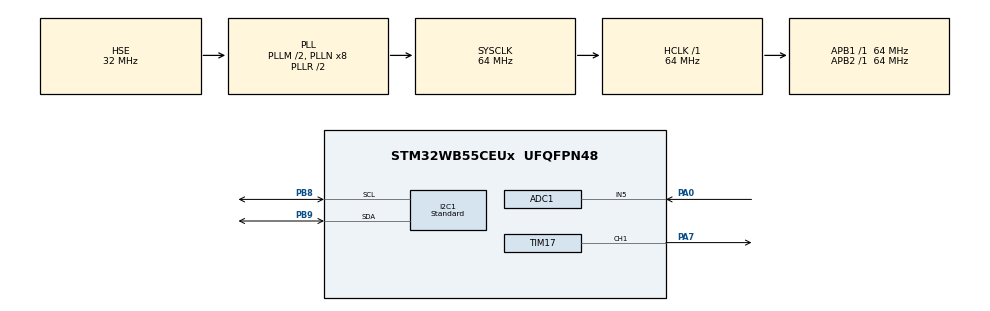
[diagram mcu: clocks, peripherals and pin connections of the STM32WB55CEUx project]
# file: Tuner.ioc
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ADC1.Channel-1\#ChannelRegularConversion=ADC_CHANNEL_5
ADC1.ClockPrescaler=ADC_CLOCK_ASYNC_DIV2
ADC1.ContinuousConvMode=DISABLE
ADC1.DMAContinuousRequests=ENABLE
ADC1.ExternalTrigConv=ADC_EXTERNALTRIG_T2_TRGO
ADC1.NbrOfConversion=1
ADC1.NbrOfConversionFlag=1
ADC1.OffsetNumber-1\#ChannelRegularConversion=ADC_OFFSET_NONE
ADC1.OversamplingMode=DISABLE
ADC1.Rank-1\#ChannelRegularConversion=1
ADC1.SamplingTime-1\#ChannelRegularConversion=ADC_SAMPLETIME_47CYCLES_5
ADC1.master=1
Dma.ADC1.0.Direction=DMA_PERIPH_TO_MEMORY
Dma.ADC1.0.EventEnable=DISABLE
Dma.ADC1.0.Instance=DMA1_Channel1
Dma.ADC1.0.MemDataAlignment=DMA_MDATAALIGN_HALFWORD
Dma.ADC1.0.MemInc=DMA_MINC_ENABLE
Dma.ADC1.0.Mode=DMA_CIRCULAR
Dma.ADC1.0.PeriphDataAlignment=DMA_PDATAALIGN_HALFWORD
Dma.ADC1.0.PeriphInc=DMA_PINC_DISABLE
Dma.ADC1.0.Polarity=HAL_DMAMUX_REQ_GEN_RISING
Dma.ADC1.0.Priority=DMA_PRIORITY_LOW
Dma.ADC1.0.RequestNumber=1
Dma.ADC1.0.SignalID=NONE
Dma.ADC1.0.SyncEnable=DISABLE
Dma.ADC1.0.SyncPolarity=HAL_DMAMUX_SYNC_NO_EVENT
Dma.ADC1.0.SyncRequestNumber=1
Dma.ADC1.0.SyncSignalID=NONE
Dma.Request0=ADC1
I2C1.I2C_Speed_Mode=I2C_Standard
I2C1.Timing=0x10B17DB5
Mcu.Family=STM32WB
Mcu.Name=STM32WB55CEUx
Mcu.Package=UFQFPN48
NVIC.DMA1_Channel1_IRQn=true\:0\:0\:false\:false\:true\:false\:true\:true
NVIC.HSEM_IRQn=true\:0\:0\:false\:false\:true\:false\:true\:true
NVIC.IPCC_C1_RX_IRQn=true\:0\:0\:false\:false\:true\:true\:true\:true
NVIC.IPCC_C1_TX_IRQn=true\:0\:0\:false\:false\:true\:true\:true\:true
NVIC.PriorityGroup=NVIC_PRIORITYGROUP_4
NVIC.RTC_WKUP_IRQn=true\:0\:0\:false\:false\:true\:true\:true\:true
NVIC.TIM1_UP_TIM16_IRQn=true\:15\:0\:false\:false\:true\:false\:true\:true
NVIC.TimeBase=TIM1_UP_TIM16_IRQn
NVIC.TimeBaseIP=TIM1
OSC_IN.Mode=HSE-External-Oscillator
OSC_IN.Signal=RCC_OSC_IN
OSC_OUT.Mode=HSE-External-Oscillator
OSC_OUT.Signal=RCC_OSC_OUT
PA0.Signal=ADCx_IN5
PA13.Mode=Serial_Wire
PA13.Signal=SYS_JTMS-SWDIO
PA14.Mode=Serial_Wire
PA14.Signal=SYS_JTCK-SWCLK
PA7.Signal=S_TIM17_CH1
PB8.Mode=I2C
PB8.Signal=I2C1_SCL
PB9.Mode=I2C
PB9.Signal=I2C1_SDA
PC14-OSC32_IN.Mode=LSE-External-Oscillator
PC14-OSC32_IN.Signal=RCC_OSC32_IN
PC15-OSC32_OUT.Mode=LSE-External-Oscillator
PC15-OSC32_OUT.Signal=RCC_OSC32_OUT
ProjectManager.HeapSize=0x200
ProjectManager.StackSize=0x400
ProjectManager.TargetToolchain=STM32CubeIDE
RCC.ADCFreq_Value=64000000
RCC.AHB2CLKDivider=RCC_SYSCLK_DIV2
RCC.AHBFreq_Value=64000000
RCC.APB1Freq_Value=64000000
RCC.APB1TimFreq_Value=64000000
RCC.APB2Freq_Value=64000000
RCC.APB2TimFreq_Value=64000000
RCC.APB3Freq_Value=16000000
RCC.CortexFreq_Value=64000000
RCC.HCLKFreq_Value=64000000
RCC.HSE_VALUE=32000000
RCC.HSI48_VALUE=48000000
RCC.HSI_VALUE=16000000
RCC.MSIClockRange=RCC_MSIRANGE_10
RCC.PLLM=RCC_PLLM_DIV2
RCC.PLLSourceVirtual=RCC_PLLSOURCE_HSE
RCC.SYSCLKFreq_VALUE=64000000
RCC.SYSCLKSource=RCC_SYSCLKSOURCE_PLLCLK
RCC.USBFreq_Value=64000000
RCC.VCOOutputFreq_Value=128000000
RCC.VDD_VALUE=3
RF1.Mode=RF1_Activate
RF1.Signal=RF_RF1
SH.ADCx_IN5.0=ADC1_IN5,IN5-Single-Ended
SH.S_TIM17_CH1.0=TIM17_CH1,PWM Generation1 CH1
STM32_WPAN.AD_TYPE_COMPLETE_LOCAL_NAME=STM32 Derintuvas
STM32_WPAN.AD_TYPE_COMPLETE_LOCAL_NAME_LENGTH=17
STM32_WPAN.BT_SIG_HEART_RATE_SENSOR=Disabled
STM32_WPAN.CFG_LSCLK_LSE=0
STM32_WPAN.CUSTOM_P2P_SERVER=Disabled
STM32_WPAN.CUSTOM_TEMPLATE=Enabled
STM32_WPAN.INCLUDE_AD_TYPE_COMPLETE_LOCAL_NAME=1
STM32_WPAN.NUMBER_OF_SERVICES=1
STM32_WPAN.SERVICE1_CHAR1_ATTR_PERMISSION_ENCRY_READ=\ 
STM32_WPAN.SERVICE1_CHAR1_GATT_NOTIFY_ATTRIBUTE_WRITE=GATT_NOTIFY_ATTRIBUTE_WRITE
STM32_WPAN.SERVICE1_CHAR1_GATT_NOTIFY_READ_REQ_AND_WAIT_FOR_APPL_RESP=\ 
STM32_WPAN.SERVICE1_CHAR1_GATT_NOTIFY_WRITE_REQ_AND_WAIT_FOR_APPL_RESP=\ 
STM32_WPAN.SERVICE1_CHAR1_LONG_NAME=charCast
STM32_WPAN.SERVICE1_CHAR1_PROP_NOTIFY=CHAR_PROP_NOTIFY
STM32_WPAN.SERVICE1_CHAR1_PROP_READ=CHAR_PROP_READ
STM32_WPAN.SERVICE1_CHAR1_SHORT_NAME=charCast
STM32_WPAN.SERVICE1_CHAR1_VALUE_LENGTH=8
STM32_WPAN.SERVICE1_LONG_NAME=TunerService
STM32_WPAN.SERVICE1_SHORT_NAME=TunerService
TIM17.Channel=TIM_CHANNEL_1
TIM17.Period=1000
TIM17.Prescaler=63
TIM17.Pulse=0
TIM2.Period=99
TIM2.Prescaler=79
TIM2.TIM_MasterOutputTrigger=TIM_TRGO_UPDATE
VP_HSEM_VS_HSEM.Mode=HSEM_Activate
VP_IPCC_VS_IPCC.Mode=IPCC_Activate
VP_MEMORYMAP_VS_MEMORYMAP.Mode=CurAppReg
VP_RTC_VS_RTC_Activate.Mode=RTC_Enabled
VP_RTC_VS_RTC_WakeUp_intern.Mode=WakeUp
VP_SEQUENCER_VS_SEQUENCER.Mode=SEQUENCER_Enabled
VP_STM32_WPAN_VS_BLE_HOST.Mode=STM32_WPAN_Enabled
VP_SYS_VS_tim1.Mode=TIM1
VP_TIM17_VS_ClockSourceINT.Mode=Enable_Timer
VP_TIM2_VS_ClockSourceINT.Mode=Internal
VP_TINY_LPM_VS_TINY_LPM.Mode=TINY_LPM_Enabled
board=custom

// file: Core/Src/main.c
/* USER CODE BEGIN Header */
/* gitaros derintuvas */
/* USER CODE END Header */
#include "main.h"

/* USER CODE BEGIN Includes */
#include "ssd1306.h"
#include "ssd1306_fonts.h"
#include <stdio.h>
#include <math.h>
#include "arm_math.h"

#include "ble_types.h"
#include "app_ble.h"
#include "custom_stm.h"
#include <stdbool.h>
#include "slider.h"
/* USER CODE END Includes */

/* USER CODE BEGIN PD */
#define ADC_BUF_LEN 2048  // buferio dydis
#define MIN_FREQ_HZ 70		// dažnių ribos
#define MAX_FREQ_HZ 2000
#define ADC_VREF 3.3f		// galima palikti standartinį 3,3V
#define ADC_RESOLUTION 4096.0f	// 2¹², 12 bitų ADC geba
#define STABILITY_THRESHOLD 3.0f  /* (Hz)
								 * ------------------------------------------------------------------------
								 *  Maksimalus leistinas standartinis nuokrypis tarp paskutinių
								 *  AVG_FRAMES matavimų. Jeigu nuokrypis neviršija slenksčio STABILITY_THRESHOLD,
								 *  laikome, kad styga stabilizavosi ir dažnis yra patikimas.
								 *
								 *  Rekomenduojamos ribos:
								 *    1–2 Hz  – labai griežta, gali vėluoti natos rodymas
								 *    3 Hz    – gera pusiausvyra
								 *    4–6 Hz  – greitesnė reakcija, bet galima daugiau nepatikimumo
								 *-------------------------------------------------------------------------*/
#define AVG_FRAMES 1			/*  Kiek paskutinių dažnio matavimų (FFT langų) laikyti žiediniame buferyje
								 *  ir naudoti stabilumo analizei:
								 *
								 *    1  – jokio vidurkinimo („real-time“ reakcija, bet gali „šokinėti“)
								 *   >1  – įjungiamas „debounce“:
								 *           skaičiuojamas vidurkis per N kadrų
								 *           jei standartinis nuokrypis σ < STABILITY_THRESHOLD, nata laikoma STABILI ir rodoma.
								 *
								 *  Rekomenduojamos ribos:
								 *    1    labai greitas atsakas, minimalus vėlinimas
								 *    2–3  švelnus išlyginimas
								 *    4+   itin stabilu, bet padidėja vėlinimas į ekraną / BLE
								 *-------------------------------------------------------------------------*/

float freq_buffer[AVG_FRAMES] = {0};   // žiedinis buferis dažniui prilyginti
uint8_t freq_index = 0;			// rodyklė į kitą buferio langelį
uint32_t min_bin, max_bin;		// FFT bin’ų intervalas, skaičiuojamas start’e

#define LED_ON_DUTY  400     /* 40 % */
#define LED_OFF_DUTY   0	// išjungtas

volatile uint8_t new_data_ready = 0;	// DMA callback’e užkeliama į 1, kai buferis pilnas

uint16_t adc_buf[ADC_BUF_LEN];		// "žali" ADC mėginiai
float32_t fft_input[ADC_BUF_LEN];	//tie patys, bet jau −DC ir su langu
float32_t fft_output[ADC_BUF_LEN];	// sudėtas FFT rezultatas
float32_t magnitudes[ADC_BUF_LEN / 2];	// |FFT| amplitudės (tik reikalinga pusė)
char buffer[32];					// laikinas tekstas OLED/BLE
float sample_rate;					// nustatoma vėliau pagal laikmatį 8000

static float ref_note_freq = 0.0f;   /* artimiausios natos Hz vertė*/
/* USER CODE END PD */

ADC_HandleTypeDef hadc1;
DMA_HandleTypeDef hdma_adc1;

I2C_HandleTypeDef hi2c1;

IPCC_HandleTypeDef hipcc;

RTC_HandleTypeDef hrtc;

TIM_HandleTypeDef htim2;
TIM_HandleTypeDef htim17;

void SystemClock_Config(void);
void PeriphCommonClock_Config(void);
static void MX_GPIO_Init(void);
static void MX_DMA_Init(void);
static void MX_I2C1_Init(void);
static void MX_ADC1_Init(void);
static void MX_IPCC_Init(void);
static void MX_RTC_Init(void);
static void MX_TIM2_Init(void);
static void MX_TIM17_Init(void);
static void MX_RF_Init(void);
/* USER CODE BEGIN PFP */
void HAL_ADC_ConvCpltCallback(ADC_HandleTypeDef* hadc) {		//  kalibruojam ADC prieš matavimus
    new_data_ready = 1;
}

static void Display_Debug_Info(const char* note, float freq) {
    ssd1306_Fill(Black);

    //dažnio informacija
    snprintf(buffer, sizeof(buffer), "%s ", note);
    ssd1306_SetCursor(0, 0);
    ssd1306_WriteString(buffer, Font_16x26, White);

	snprintf(buffer, sizeof(buffer), "%3.0fHz", freq);
	ssd1306_SetCursor(70, 0);
	ssd1306_WriteString(buffer, Font_11x18, White);

//    ssd1306_UpdateScreen();
}

typedef struct {
    const char* name;
    float freq;
} Note;

Note notes[] = {
    // 2 oktava
    {"C2", 65.41}, {"C#2", 69.30}, {"D2", 73.42}, {"D#2", 77.78},
    {"E2", 82.41}, {"F2", 87.31}, {"F#2", 92.50}, {"G2", 98.00},
    {"G#2", 103.83}, {"A2", 110.00}, {"A#2", 116.54}, {"B2", 123.47},

    // 3 oktava
    {"C3", 130.81}, {"C#3", 138.59}, {"D3", 146.83}, {"D#3", 155.56},
    {"E3", 164.81}, {"F3", 174.61}, {"F#3", 185.00}, {"G3", 196.00},
    {"G#3", 207.65}, {"A3", 220.00}, {"A#3", 233.08}, {"B3", 246.94},

    // 4 oktava
    {"C4", 261.63}, {"C#4", 277.18}, {"D4", 293.66}, {"D#4", 311.13},
    {"E4", 329.63}, {"F4", 349.23}, {"F#4", 369.99}, {"G4", 392.00},
    {"G#4", 415.30}, {"A4", 440.00}, {"A#4", 466.16}, {"B4", 493.88},

    // 5 oktava
    {"C5", 523.25}, {"C#5", 554.37}, {"D5", 587.33}, {"D#5", 622.25},
    {"E5", 659.26}, {"F5", 698.46}, {"F#5", 739.99}, {"G5", 783.99},
    {"G#5", 830.61}, {"A5", 880.00}, {"A#5", 932.33}, {"B5", 987.77},

    // 6 oktava
    {"C6", 1046.50}, {"C#6", 1108.73}, {"D6", 1174.66}, {"D#6", 1244.51},
    {"E6", 1318.51}, {"F6", 1396.91}, {"F#6", 1479.98}, {"G6", 1567.98},
    {"G#6", 1661.22}, {"A6", 1760.00}, {"A#6", 1864.66}, {"B6", 1975.53},

    {"C7", 2093.00}, {"C#7", 2217.46}, {"D7", 2349.32}
};

static const char* IdentifyNote(float freq) {
    float minDiff = 1e9f;			/* pradinis „begalinis“ skirtumas */
    const char* closestNote = "-";	/* kol kas nežinome artimiausios natos */
    ref_note_freq = 0.0f;          /* iš naujo nustatyti kiekvieną kartą iškviečiant */

    // rasti artimiausia natą
    for (int i = 0; i < sizeof(notes)/sizeof(notes[0]); i++) {
        float diff = fabsf(freq - notes[i].freq);		/* absoliutus skirtumas */
        if (diff < minDiff) {
            minDiff = diff;						/* atnaujiname minimumą */
            closestNote = notes[i].name;		/* įsimename pavadinimą */
            ref_note_freq = notes[i].freq;    /* įsimename tikslų Hz  */
        }
    }

    // Atmesti, jei skirtumas, paklaida per didelė (>3 % natų dažnio)
    if (minDiff > 0.03f * freq) {
        return "-";
    }

    return closestNote;
}
/* USER CODE END PFP */

int main(void)
{

  /* MCU Configuration--------------------------------------------------------*/

  /* Reset of all peripherals, Initializes the Flash interface and the Systick. */
  HAL_Init();
  /* Config code for STM32_WPAN (HSE Tuning must be done before system clock configuration) */
  MX_APPE_Config();

  /* Configure the system clock */
  SystemClock_Config();

  /* Configure the peripherals common clocks */
  PeriphCommonClock_Config();

  /* IPCC initialisation */
  MX_IPCC_Init();

  /* Initialize all configured peripherals */
  MX_GPIO_Init();
  MX_DMA_Init();
  MX_I2C1_Init();
  MX_ADC1_Init();
  MX_RTC_Init();
  MX_TIM2_Init();
  MX_TIM17_Init();
  MX_RF_Init();
  /* USER CODE BEGIN 2 */
  HAL_TIM_PWM_Start(&htim17, TIM_CHANNEL_1);     /* PA7 LED */

  HAL_ADCEx_Calibration_Start(&hadc1, ADC_SINGLE_ENDED);
  sample_rate = 8000.0f;	// 8 kHz – Nyquist 4 kHz > MAX_FREQ, paprasta laikmačiui
  min_bin = (MIN_FREQ_HZ * ADC_BUF_LEN) / (uint32_t)sample_rate;	// formulė f -> bin  (N*f/Fs)
  max_bin = (MAX_FREQ_HZ * ADC_BUF_LEN) / (uint32_t)sample_rate;	// tas pats viršutinei ribai
  if (HAL_ADC_Start_DMA(&hadc1, (uint32_t*)adc_buf, ADC_BUF_LEN) != HAL_OK)	// paleidžiam ADC+DMA, kitaip stabdom dar stratuotėje
  Error_Handler();

  HAL_TIM_Base_Start(&htim2);                 // laikmatis paleidžiamas paskutinis

  ssd1306_Init();
  HAL_Delay(100);
  ssd1306_Fill(Black);
  ssd1306_SetCursor(0, 0);
  ssd1306_WriteString("Gitaros", Font_16x15, White);
  ssd1306_SetCursor(0, 15);
  ssd1306_WriteString("derintuvas", Font_16x15, White);
  ssd1306_UpdateScreen();

  arm_rfft_fast_instance_f32 fft;
  arm_rfft_fast_init_f32(&fft, ADC_BUF_LEN);
  /* USER CODE END 2 */

  /* Init code for STM32_WPAN */
  MX_APPE_Init();

  /* Infinite loop */
  /* USER CODE BEGIN WHILE */
  HAL_Delay(3000);
  float mean_adc, freq, min_adc, max_adc;
  float avg_freq = 0.0f;
  uint32_t maxBin;
  uint32_t last_update = 0;
  const char* note;
  while (1)
  {
    /* USER CODE END WHILE */
    MX_APPE_Process();

    /* USER CODE BEGIN 3 */
    if (new_data_ready) { //DMA užpildė ADC buferį – laikas apdoroti
			// ADC duomenų apskaičiavimas
			mean_adc = 0.0f;	// vidurkis
			min_adc = 4096.0f;  // mažinsime
			max_adc = 0.0f;		// didinsime
			for (int i = 0; i < ADC_BUF_LEN; i++) {
				mean_adc += adc_buf[i];		// sumuojame visus
				if (adc_buf[i] < min_adc) min_adc = adc_buf[i]; //ieškome mažiausio
				if (adc_buf[i] > max_adc) max_adc = adc_buf[i]; //ieškome didžiausio
			}
			mean_adc /= ADC_BUF_LEN;	// vidutinis ADC

			// DC pašalinimas + Blackman-Harris langas
			for (int i = 0; i < ADC_BUF_LEN; i++) {
				float window = 0.35875f -
							   0.48829f * cosf(2 * M_PI * i / (ADC_BUF_LEN - 1)) +
							   0.14128f * cosf(4 * M_PI * i / (ADC_BUF_LEN - 1)) -
							   0.01168f * cosf(6 * M_PI * i / (ADC_BUF_LEN - 1));
				fft_input[i] = ((float)adc_buf[i] - mean_adc) * window;
			}

			// FFT transformacija ir amplitudžių apskaičiavimas
			arm_rfft_fast_f32(&fft, fft_input, fft_output, 0);
			arm_cmplx_mag_f32(fft_output, magnitudes, ADC_BUF_LEN / 2);

			// Scale magnitudes
			float norm = 2.0f / (float)ADC_BUF_LEN;
			arm_scale_f32(magnitudes, norm, magnitudes, ADC_BUF_LEN / 2);

			// Triukšmo žemutinė riba
			float noise_floor = 0.0f;
			for (uint32_t i = 0; i < ADC_BUF_LEN / 2; i++) {
				noise_floor += magnitudes[i];
			}
			noise_floor /= (ADC_BUF_LEN / 2);

			// Nustatomas slenkstis
			float threshold = 20.0f * noise_floor;

			// Rasti pirmą imtį virš slenksčio
			uint32_t i = min_bin;
			while (i <= max_bin && magnitudes[i] <= threshold) {
				i++;
			}

			if (i > max_bin || (max_adc - min_adc) <= 5) {	// jei nieko nėra arba signalas per silpnas,
				freq = 0.0f;								// laikome, kad nėra garso
				note = "-";
			} else {
				// Rasti vietinį maksimumą aplink i
				uint32_t start = (i > 2) ? i - 2 : min_bin;
				uint32_t end = (i + 2 < ADC_BUF_LEN / 2) ? i + 2 : max_bin;
				uint32_t local_max_bin = start;
				float local_max_mag = magnitudes[start];

				for (uint32_t j = start + 1; j <= end; j++) {
					if (magnitudes[j] > local_max_mag) {
						local_max_mag = magnitudes[j];
						local_max_bin = j;
					}
				}
				maxBin = local_max_bin;

				// Kvadratinė interpoliacija dažnio tikslinimui
				if (maxBin > 0 && maxBin < ADC_BUF_LEN / 2 - 1) {
					float y1 = magnitudes[maxBin - 1];
					float y2 = magnitudes[maxBin];
					float y3 = magnitudes[maxBin + 1];
					float delta = 0.5f * (y3 - y1) / (2.0f * y2 - y1 - y3);
					float fractionalBin = maxBin + delta;
					freq = fractionalBin * sample_rate / ADC_BUF_LEN;
				} else {
					freq = maxBin * sample_rate / ADC_BUF_LEN;
				}

				note = IdentifyNote(freq);
			}

			// Laikyti dažnį buferyje ir patikrinti stabilumą
			if (freq > 0) {                       /* Tik jeigu aptiktas dažnis yra > 0 Hz  */
			    /* Įdedame naujausią matavimą į žiedinį buferį */
			    freq_buffer[freq_index] = freq;   /* įrašome dažnį į einamą poziciją       */
			    freq_index = (freq_index + 1) % AVG_FRAMES;     /* žiedo rodyklė pirmyn   */

			    /* Suskaičiuojame vidurkį ir standartinį nuokrypį buferyje */
			    float sum = 0.0f;
			    int   valid_count = 0;
			    for (int k = 0; k < AVG_FRAMES; k++) {
			        if (freq_buffer[k] > 0) {     /* ignoruojame tuščias (0 Hz) vietas     */
			            sum += freq_buffer[k];
			            valid_count++;
			        }
			    }

			    if (valid_count == AVG_FRAMES) {  /* buferis pilnas, galima vertinti      */
			        float mean_freq = sum / AVG_FRAMES;

			        /* standartinio nuokrypio formulė */
			        float sum_sq_diff = 0.0f;
			        for (int k = 0; k < AVG_FRAMES; k++) {
			            float diff = freq_buffer[k] - mean_freq;
			            sum_sq_diff += diff * diff;
			        }
			        float std_dev = sqrtf(sum_sq_diff / AVG_FRAMES);

			        /* 3) Patikriname, ar dažnis pakankamai stabilus */
			        if (std_dev < STABILITY_THRESHOLD) {
			            avg_freq = mean_freq;             /* išlyginame („debounce“)       */
			            note     = IdentifyNote(avg_freq);/* nustatome artimiausią natą    */
			        } else {
			            note     = "-";                   /* per dideli svyravimai         */
			            avg_freq = 0.0f;
			        }
			    } else {                          /* buferis dar neužsipildė: laukiame     */
			        note     = "-";
			        avg_freq = 0.0f;
			    }

			} else {                              /* signalas nerastas         */
			    note     = "-";
			    avg_freq = 0.0f;
			}

			// BLE atnaujinimas
			if (APP_BLE_Get_Server_Connection_Status() == APP_BLE_CONNECTED_SERVER) {
				char msg[8] = {0};
				if (avg_freq > 0) {
					snprintf(msg, sizeof(msg), "%5.1f", avg_freq);
				} else {
					snprintf(msg, sizeof(msg), "     ");
				}
				for (size_t i = strlen(msg); i < sizeof(msg); ++i) msg[i] = ' ';
				Custom_STM_App_Update_Char(CUSTOM_STM_CHARCAST, (uint8_t*)msg);
			}

			// Ekrano atnaujinimas
			Display_Debug_Info(note, avg_freq);
			float cents = 0.0f;
			if (avg_freq > 0.5f && ref_note_freq > 0.0f) {
				#ifndef log2f
				#define log2f(x) (logf(x) * 1.442695041f)
				#endif
				cents = 1200.0f * log2f(avg_freq / ref_note_freq);	// 1200 centų = 1 oktava
			}
			draw_slider(cents);
			ssd1306_UpdateScreen();

			new_data_ready = 0;		// baigėm apdoroti
			last_update = HAL_GetTick();
		}

    static uint32_t             led_last    = 0;     /* paskutine busena   */
    static uint8_t              led_on      = 0;     /* 0 = OFF, 1 = ON      */
    static uint8_t              pulse_count = 0;	// kiek impulsų jau parodyta dabartinėje sekoje
    const uint32_t now = HAL_GetTick();

    const uint32_t ON_MS     = 100;   /* ijungto LED laikas ms                       */
    const uint32_t GAP_IDLE  = 4000;  /* tarpas po vieno mirktelejimo (idle)     */
    const uint32_t GAP_TRAIN = 100;   /* tarpas tarp trigubų impulsų       */

    APP_BLE_ConnStatus_t conn = APP_BLE_Get_Server_Connection_Status();
    bool connected = (conn == APP_BLE_CONNECTED_SERVER ||
                      conn == APP_BLE_CONNECTED_CLIENT);

    /* -------- būsenos mašina ------------------------------------------- */
    if (led_on) {                                          /* LEDas ON  */
        if (now - led_last >= ON_MS) {
        	__HAL_TIM_SET_COMPARE(&htim17, TIM_CHANNEL_1, LED_OFF_DUTY);
            led_on   = 0;
            led_last = now;
            pulse_count++;                                 /* vienas pulsas atliktas    */
        }
    } else {                                               /* LEDas OFF */
        uint32_t gap = connected
                       ? (pulse_count < 3 ? GAP_TRAIN : GAP_IDLE)
                       : GAP_IDLE;
        if (now - led_last >= gap) {
        	__HAL_TIM_SET_COMPARE(&htim17, TIM_CHANNEL_1, LED_ON_DUTY);
            led_on   = 1;
            led_last = now;
            if (!connected || pulse_count >= 3)            /* restartuoti seka */
                pulse_count = 0;
        }
    }

	if (HAL_GetTick() - last_update >= 50) {
		last_update = HAL_GetTick();
	}
  }
  /* USER CODE END 3 */
}

void SystemClock_Config(void)
{
  RCC_OscInitTypeDef RCC_OscInitStruct = {0};
  RCC_ClkInitTypeDef RCC_ClkInitStruct = {0};

  /** Configure the main internal regulator output voltage
  */
  __HAL_PWR_VOLTAGESCALING_CONFIG(PWR_REGULATOR_VOLTAGE_SCALE1);

  /** Initializes the RCC Oscillators according to the specified parameters
  * in the RCC_OscInitTypeDef structure.
  */
  RCC_OscInitStruct.OscillatorType = RCC_OSCILLATORTYPE_HSI|RCC_OSCILLATORTYPE_LSI1
                              |RCC_OSCILLATORTYPE_HSE;
  RCC_OscInitStruct.HSEState = RCC_HSE_ON;
  RCC_OscInitStruct.HSIState = RCC_HSI_ON;
  RCC_OscInitStruct.HSICalibrationValue = RCC_HSICALIBRATION_DEFAULT;
  RCC_OscInitStruct.LSIState = RCC_LSI_ON;
  RCC_OscInitStruct.PLL.PLLState = RCC_PLL_ON;
  RCC_OscInitStruct.PLL.PLLSource = RCC_PLLSOURCE_HSE;
  RCC_OscInitStruct.PLL.PLLM = RCC_PLLM_DIV2;
  RCC_OscInitStruct.PLL.PLLN = 8;
  RCC_OscInitStruct.PLL.PLLP = RCC_PLLP_DIV2;
  RCC_OscInitStruct.PLL.PLLR = RCC_PLLR_DIV2;
  RCC_OscInitStruct.PLL.PLLQ = RCC_PLLQ_DIV2;
  if (HAL_RCC_OscConfig(&RCC_OscInitStruct) != HAL_OK)
  {
    Error_Handler();
  }

  /** Configure the SYSCLKSource, HCLK, PCLK1 and PCLK2 clocks dividers
  */
  RCC_ClkInitStruct.ClockType = RCC_CLOCKTYPE_HCLK4|RCC_CLOCKTYPE_HCLK2
                              |RCC_CLOCKTYPE_HCLK|RCC_CLOCKTYPE_SYSCLK
                              |RCC_CLOCKTYPE_PCLK1|RCC_CLOCKTYPE_PCLK2;
  RCC_ClkInitStruct.SYSCLKSource = RCC_SYSCLKSOURCE_PLLCLK;
  RCC_ClkInitStruct.AHBCLKDivider = RCC_SYSCLK_DIV1;
  RCC_ClkInitStruct.APB1CLKDivider = RCC_HCLK_DIV1;
  RCC_ClkInitStruct.APB2CLKDivider = RCC_HCLK_DIV1;
  RCC_ClkInitStruct.AHBCLK2Divider = RCC_SYSCLK_DIV2;
  RCC_ClkInitStruct.AHBCLK4Divider = RCC_SYSCLK_DIV1;

  if (HAL_RCC_ClockConfig(&RCC_ClkInitStruct, FLASH_LATENCY_3) != HAL_OK)
  {
    Error_Handler();
  }
}

void PeriphCommonClock_Config(void)
{
  RCC_PeriphCLKInitTypeDef PeriphClkInitStruct = {0};

  /** Initializes the peripherals clock
  */
  PeriphClkInitStruct.PeriphClockSelection = RCC_PERIPHCLK_SMPS|RCC_PERIPHCLK_RFWAKEUP;
  PeriphClkInitStruct.RFWakeUpClockSelection = RCC_RFWKPCLKSOURCE_HSE_DIV1024;
  PeriphClkInitStruct.SmpsClockSelection = RCC_SMPSCLKSOURCE_HSI;
  PeriphClkInitStruct.SmpsDivSelection = RCC_SMPSCLKDIV_RANGE1;

  if (HAL_RCCEx_PeriphCLKConfig(&PeriphClkInitStruct) != HAL_OK)
  {
    Error_Handler();
  }
}

static void MX_ADC1_Init(void)
{

  ADC_ChannelConfTypeDef sConfig = {0};

  /** Common config
  */
  hadc1.Instance = ADC1;
  hadc1.Init.ClockPrescaler = ADC_CLOCK_ASYNC_DIV2;
  hadc1.Init.Resolution = ADC_RESOLUTION_12B;
  hadc1.Init.DataAlign = ADC_DATAALIGN_RIGHT;
  hadc1.Init.ScanConvMode = ADC_SCAN_DISABLE;
  hadc1.Init.EOCSelection = ADC_EOC_SINGLE_CONV;
  hadc1.Init.LowPowerAutoWait = DISABLE;
  hadc1.Init.ContinuousConvMode = DISABLE;
  hadc1.Init.NbrOfConversion = 1;
  hadc1.Init.DiscontinuousConvMode = DISABLE;
  hadc1.Init.ExternalTrigConv = ADC_EXTERNALTRIG_T2_TRGO;
  hadc1.Init.ExternalTrigConvEdge = ADC_EXTERNALTRIGCONVEDGE_RISING;
  hadc1.Init.DMAContinuousRequests = ENABLE;
  hadc1.Init.Overrun = ADC_OVR_DATA_PRESERVED;
  hadc1.Init.OversamplingMode = DISABLE;
  if (HAL_ADC_Init(&hadc1) != HAL_OK)
  {
    Error_Handler();
  }

  /** Configure Regular Channel
  */
  sConfig.Channel = ADC_CHANNEL_5;
  sConfig.Rank = ADC_REGULAR_RANK_1;
  sConfig.SamplingTime = ADC_SAMPLETIME_47CYCLES_5;
  sConfig.SingleDiff = ADC_SINGLE_ENDED;
  sConfig.OffsetNumber = ADC_OFFSET_NONE;
  sConfig.Offset = 0;
  if (HAL_ADC_ConfigChannel(&hadc1, &sConfig) != HAL_OK)
  {
    Error_Handler();
  }

}

static void MX_I2C1_Init(void)
{

  hi2c1.Instance = I2C1;
  hi2c1.Init.Timing = 0x10B17DB5;
  hi2c1.Init.OwnAddress1 = 0;
  hi2c1.Init.AddressingMode = I2C_ADDRESSINGMODE_7BIT;
  hi2c1.Init.DualAddressMode = I2C_DUALADDRESS_DISABLE;
  hi2c1.Init.OwnAddress2 = 0;
  hi2c1.Init.OwnAddress2Masks = I2C_OA2_NOMASK;
  hi2c1.Init.GeneralCallMode = I2C_GENERALCALL_DISABLE;
  hi2c1.Init.NoStretchMode = I2C_NOSTRETCH_DISABLE;
  if (HAL_I2C_Init(&hi2c1) != HAL_OK)
  {
    Error_Handler();
  }

  /** Configure Analogue filter
  */
  if (HAL_I2CEx_ConfigAnalogFilter(&hi2c1, I2C_ANALOGFILTER_ENABLE) != HAL_OK)
  {
    Error_Handler();
  }

  /** Configure Digital filter
  */
  if (HAL_I2CEx_ConfigDigitalFilter(&hi2c1, 0) != HAL_OK)
  {
    Error_Handler();
  }

}

static void MX_IPCC_Init(void)
{

  hipcc.Instance = IPCC;
  if (HAL_IPCC_Init(&hipcc) != HAL_OK)
  {
    Error_Handler();
  }

}

static void MX_RF_Init(void)
{

}

static void MX_RTC_Init(void)
{

  /** Initialize RTC Only
  */
  hrtc.Instance = RTC;
  hrtc.Init.HourFormat = RTC_HOURFORMAT_24;
  hrtc.Init.AsynchPrediv = CFG_RTC_ASYNCH_PRESCALER;
  hrtc.Init.SynchPrediv = CFG_RTC_SYNCH_PRESCALER;
  hrtc.Init.OutPut = RTC_OUTPUT_DISABLE;
  hrtc.Init.OutPutPolarity = RTC_OUTPUT_POLARITY_HIGH;
  hrtc.Init.OutPutType = RTC_OUTPUT_TYPE_OPENDRAIN;
  hrtc.Init.OutPutRemap = RTC_OUTPUT_REMAP_NONE;
  if (HAL_RTC_Init(&hrtc) != HAL_OK)
  {
    Error_Handler();
  }

  /** Enable the WakeUp
  */
  if (HAL_RTCEx_SetWakeUpTimer_IT(&hrtc, 0, RTC_WAKEUPCLOCK_RTCCLK_DIV16) != HAL_OK)
  {
    Error_Handler();
  }

}

static void MX_TIM2_Init(void)
{

  TIM_ClockConfigTypeDef sClockSourceConfig = {0};
  TIM_MasterConfigTypeDef sMasterConfig = {0};

  htim2.Instance = TIM2;
  htim2.Init.Prescaler = 79;
  htim2.Init.CounterMode = TIM_COUNTERMODE_UP;
  htim2.Init.Period = 99;
  htim2.Init.ClockDivision = TIM_CLOCKDIVISION_DIV1;
  htim2.Init.AutoReloadPreload = TIM_AUTORELOAD_PRELOAD_DISABLE;
  if (HAL_TIM_Base_Init(&htim2) != HAL_OK)
  {
    Error_Handler();
  }
  sClockSourceConfig.ClockSource = TIM_CLOCKSOURCE_INTERNAL;
  if (HAL_TIM_ConfigClockSource(&htim2, &sClockSourceConfig) != HAL_OK)
  {
    Error_Handler();
  }
  sMasterConfig.MasterOutputTrigger = TIM_TRGO_UPDATE;
  sMasterConfig.MasterSlaveMode = TIM_MASTERSLAVEMODE_DISABLE;
  if (HAL_TIMEx_MasterConfigSynchronization(&htim2, &sMasterConfig) != HAL_OK)
  {
    Error_Handler();
  }

}

static void MX_TIM17_Init(void)
{

  TIM_OC_InitTypeDef sConfigOC = {0};
  TIM_BreakDeadTimeConfigTypeDef sBreakDeadTimeConfig = {0};

  htim17.Instance = TIM17;
  htim17.Init.Prescaler = 63;
  htim17.Init.CounterMode = TIM_COUNTERMODE_UP;
  htim17.Init.Period = 1000;
  htim17.Init.ClockDivision = TIM_CLOCKDIVISION_DIV1;
  htim17.Init.RepetitionCounter = 0;
  htim17.Init.AutoReloadPreload = TIM_AUTORELOAD_PRELOAD_DISABLE;
  if (HAL_TIM_Base_Init(&htim17) != HAL_OK)
  {
    Error_Handler();
  }
  if (HAL_TIM_PWM_Init(&htim17) != HAL_OK)
  {
    Error_Handler();
  }
  sConfigOC.OCMode = TIM_OCMODE_PWM1;
  sConfigOC.Pulse = 0;
  sConfigOC.OCPolarity = TIM_OCPOLARITY_HIGH;
  sConfigOC.OCNPolarity = TIM_OCNPOLARITY_HIGH;
  sConfigOC.OCFastMode = TIM_OCFAST_DISABLE;
  sConfigOC.OCIdleState = TIM_OCIDLESTATE_RESET;
  sConfigOC.OCNIdleState = TIM_OCNIDLESTATE_RESET;
  if (HAL_TIM_PWM_ConfigChannel(&htim17, &sConfigOC, TIM_CHANNEL_1) != HAL_OK)
  {
    Error_Handler();
  }
  sBreakDeadTimeConfig.OffStateRunMode = TIM_OSSR_DISABLE;
  sBreakDeadTimeConfig.OffStateIDLEMode = TIM_OSSI_DISABLE;
  sBreakDeadTimeConfig.LockLevel = TIM_LOCKLEVEL_OFF;
  sBreakDeadTimeConfig.DeadTime = 0;
  sBreakDeadTimeConfig.BreakState = TIM_BREAK_DISABLE;
  sBreakDeadTimeConfig.BreakPolarity = TIM_BREAKPOLARITY_HIGH;
  sBreakDeadTimeConfig.BreakFilter = 0;
  sBreakDeadTimeConfig.AutomaticOutput = TIM_AUTOMATICOUTPUT_DISABLE;
  if (HAL_TIMEx_ConfigBreakDeadTime(&htim17, &sBreakDeadTimeConfig) != HAL_OK)
  {
    Error_Handler();
  }
  HAL_TIM_MspPostInit(&htim17);

}

static void MX_DMA_Init(void)
{

  /* DMA controller clock enable */
  __HAL_RCC_DMAMUX1_CLK_ENABLE();
  __HAL_RCC_DMA1_CLK_ENABLE();

  /* DMA interrupt init */
  /* DMA1_Channel1_IRQn interrupt configuration */
  HAL_NVIC_SetPriority(DMA1_Channel1_IRQn, 0, 0);
  HAL_NVIC_EnableIRQ(DMA1_Channel1_IRQn);

}

static void MX_GPIO_Init(void)
{

  /* GPIO Ports Clock Enable */
  __HAL_RCC_GPIOC_CLK_ENABLE();
  __HAL_RCC_GPIOB_CLK_ENABLE();
  __HAL_RCC_GPIOA_CLK_ENABLE();

}

void HAL_TIM_PeriodElapsedCallback(TIM_HandleTypeDef *htim)
{
  if (htim->Instance == TIM1)
  {
    HAL_IncTick();
  }
}

void Error_Handler(void)
{
  __disable_irq();
  while (1)
  {
  }
}
